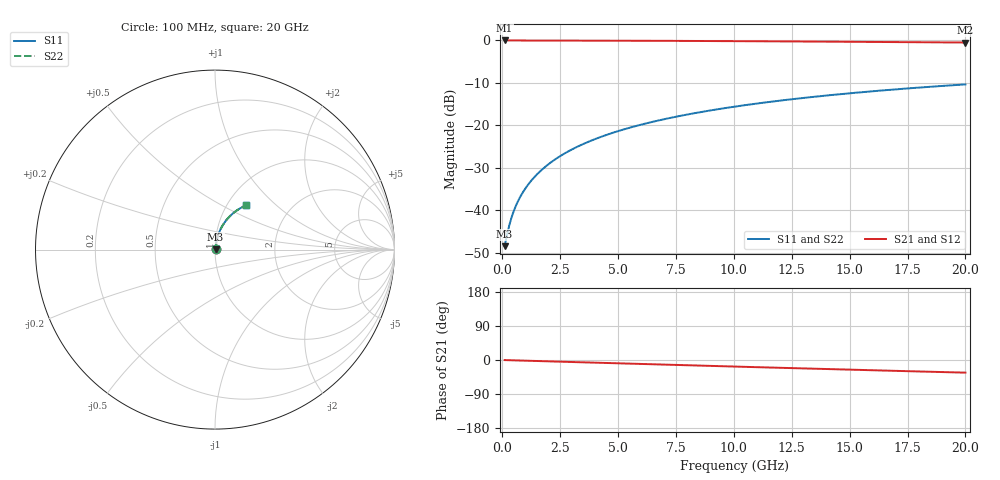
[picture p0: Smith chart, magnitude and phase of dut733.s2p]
! Touchstone file exported from HFSS 2026.1.0
!  File:  C:/ffzhzh/LocalFiles/Ansys_Project_Files/temp_train_BSMRDL_733_1783168565_55132.aedt
!  Generated:  08:37:16 PM Jul  4, 2026
!  Design:  BSMRDL
!  Project:  temp_train_BSMRDL_733_1783168565_55132
! Variables:
!  h_bsmrdl = 2.99um
!  h_ox = 20um
!  h_rdl = 5um
!  h_sub = 80um
!  h_tmrdl = 5um
!  h_tsv = 80um
!  h_via = 3um
!  l_bsmrdl = 483um
!  l_sub = 883um
!  l_tmrdl = 200um
!  m_sub = 200um
!  pitch = 39.1um
!  r_tsv = 6um
!  s_tmrdl = 10um
!  w_bsmrdl = 18.78um
!  w_sub = 500um
!  w_tmrdl = 12um
!  x_tsv_center1 = 206um
!  x_tsv_center2 = 707.78um
!  x_tsv_center3 = 919.78um
!  x_tsv_center4 = 1421.56um
!  x_tsv_center5 = 1633.56um
!  x_tsv_center6 = 2135.34um
# GHz S MA R 50.000000
! Terminal data exported
! Port[1] = BSM_RDL1_1_T1
! Port[2] = BSM_RDL1_1_T2
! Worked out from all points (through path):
!   200 points, 100 MHz to 20 GHz, reference 50 ohm
!   highest |S21| = -0.03 dB at 100 MHz (marker M1); lowest = -0.5 dB at 20 GHz (marker M2)
!   group delay of S21, straight-line fit = 4.64 ps
!   lowest |S11| = -48.5 dB at 100 MHz (marker M3), VSWR 1.01, Z = 50.3 + j0.192 ohm
!   |S11| at or under -10 dB: start of sweep to end of sweep
!   |S22| runs from -48.5 to -10.4 dB; largest |S21 - S12| = 2e-15
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0.1  0.003771 30.4  0.9968 -0.2  0.9968 -0.2  0.003771 30.4
! Gamma 0 0 0 0
! Port Impedance 50 0 50 0
0.2  0.005063 48.2  0.9966 -0.4  0.9966 -0.4  0.005063 48.2
0.3  0.006609 57.7  0.9965 -0.6  0.9965 -0.6  0.006609 57.7
0.4  0.008225 63.2  0.9964 -0.7  0.9964 -0.7  0.008225 63.2
0.5  0.009857 66.9  0.9962 -0.9  0.9962 -0.9  0.009857 66.9
0.6  0.01149 69.5  0.9961 -1.1  0.9961 -1.1  0.01149 69.5
0.8  0.01478 73.0  0.9959 -1.4  0.9959 -1.4  0.01478 73.0
1.1  0.01976 76.0  0.9957 -2.0  0.9957 -2.0  0.01976 76.0
1.3  0.0231 77.3  0.9956 -2.3  0.9956 -2.3  0.0231 77.3
1.6  0.02814 78.4  0.9954 -2.8  0.9954 -2.8  0.02814 78.4
2.1  0.03659 79.4  0.9949 -3.7  0.9949 -3.7  0.03659 79.4
2.7  0.04674 79.6  0.9944 -4.8  0.9944 -4.8  0.04674 79.6
3.5  0.06024 79.3  0.9934 -6.2  0.9934 -6.2  0.06024 79.3
4.2  0.07199 78.6  0.9924 -7.4  0.9924 -7.4  0.072 78.6
5  0.08532 77.6  0.991 -8.8  0.991 -8.8  0.08532 77.6
5.9  0.1002 76.4  0.9892 -10.3  0.9892 -10.3  0.1002 76.4
6.8  0.1148 75.0  0.9872 -11.9  0.9872 -11.9  0.1148 75.1
8.3  0.1388 72.7  0.9835 -14.4  0.9835 -14.4  0.1388 72.7
10.1  0.1667 69.9  0.9783 -17.4  0.9783 -17.4  0.1667 69.9
13.4  0.2155 64.7  0.9675 -22.9  0.9675 -22.9  0.2155 64.7
16.7  0.2609 59.6  0.9554 -28.2  0.9554 -28.2  0.2609 59.6
20  0.3028 54.6  0.9423 -33.4  0.9423 -33.4  0.3028 54.6
